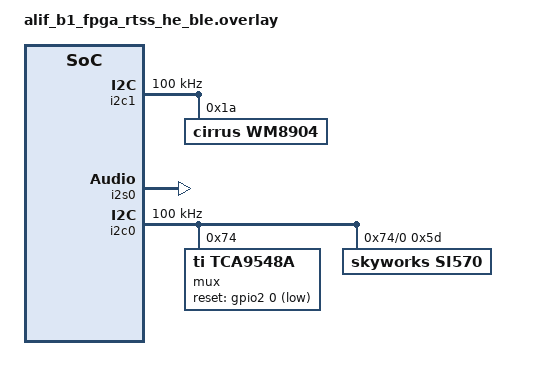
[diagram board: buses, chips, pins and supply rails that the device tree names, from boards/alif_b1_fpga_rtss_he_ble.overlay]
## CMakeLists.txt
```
# Copyright (C) 2023 Alif Semiconductor - All Rights Reserved.
# Use, distribution and modification of this code is permitted under the
# terms stated in the Alif Semiconductor Software License Agreement
#
# You should have received a copy of the Alif Semiconductor Software
# License Agreement with this file. If not, please write to:
# contact@alifsemi.com, or visit: https://alifsemi.com/license

cmake_minimum_required(VERSION 3.20.0)
find_package(Zephyr REQUIRED HINTS $ENV{ZEPHYR_BASE})
project(le_audio_broadcast_sink)

target_sources(app PRIVATE
    src/main.c
    src/broadcast_sink.c
    src/audio_datapath.c
)
```

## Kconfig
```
# Copyright (C) 2023 Alif Semiconductor - All Rights Reserved.
# Use, distribution and modification of this code is permitted under the
# terms stated in the Alif Semiconductor Software License Agreement
#
# You should have received a copy of the Alif Semiconductor Software
# License Agreement with this file. If not, please write to:
# contact@alifsemi.com, or visit: https://alifsemi.com/license

menu "Alif Bluetooth LE Audio Broadcast Sink"

config BROADCAST_NAME
	string "LE audio broadcast name"
	default "ALIF_LE_AUDIO"
	help
	  Broadcast name to connect to

config BROADCAST_PASSWORD
	string "LE audio broadcast password"
	help
	  If defined the broadcast stream will be encrypted.
	  Length needs to be between 4 and 16 chars or empty string (default) to disable.

choice
	prompt "Choose way to determine left/right audio channels"
	default AUDIO_LOCATION_USE_GAF

	config AUDIO_LOCATION_USE_GAF
		bool "Use GAF audio location sent by audio source"
	config AUDIO_LOCATION_IMPLICIT
		bool "Assume left channel is first stream, and right channel is second"

endchoice

menu "Logging"

module = MAIN
module-str = main
source "subsys/logging/Kconfig.template.log_config"

module = BROADCAST_SINK
module-str = broadcast_sink
source "subsys/logging/Kconfig.template.log_config"

endmenu # "Logging"

endmenu # "Alif Bluetooth LE Audio Broadcast Sink"

source "Kconfig.zephyr"
```

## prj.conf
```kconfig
# Copyright (C) 2023 Alif Semiconductor - All Rights Reserved.
# Use, distribution and modification of this code is permitted under the
# terms stated in the Alif Semiconductor Software License Agreement
#
# You should have received a copy of the Alif Semiconductor Software
# License Agreement with this file. If not, please write to:
# contact@alifsemi.com, or visit: https://alifsemi.com/license
CONFIG_BT=y
CONFIG_BT_CUSTOM=y
CONFIG_ALIF_ROM_LC3_CODEC=y
CONFIG_ALIF_BLE_AUDIO=y

CONFIG_LOG=y

CONFIG_PRESENTATION_COMPENSATION_DIRECTION_SINK=y
CONFIG_PRESENTATION_COMPENSATION_CORRECTION_FACTOR=2

CONFIG_AUDIO=y
CONFIG_AUDIO_CODEC=y
CONFIG_AUDIO_CODEC_SHELL=y
CONFIG_SHELL=y

# This is specific to whichever clock you use. Currently presentation layer is
# commented out so this does nothing
CONFIG_AUDIO_CLOCK_DIVIDER=1


# Should be replaced by TRNG when support is available
CONFIG_TEST_RANDOM_GENERATOR=y

# malloc support is required, simplest way is using newlib although it would also be possible to
# configure heap for picolibc
CONFIG_NEWLIB_LIBC=y

# Driver support for audio
CONFIG_I2S=y
CONFIG_I2S_SYNC_BUFFER_FORMAT_SEQUENTIAL=n
CONFIG_DMA=y

# Determine left and right channels by index, not GAF
CONFIG_AUDIO_LOCATION_IMPLICIT=y

# Audio codec is WM8904, connected via I2C.
CONFIG_I2C=y
CONFIG_WM8904=y
CONFIG_I2C_INIT_PRIORITY=50
CONFIG_WM8904_INIT_PRIORITY=99

# For MRAM(XIP) builds with LLVM exception tables cause linker errors as part of the code is placed to TCM
CONFIG_EXCEPTIONS=n

CONFIG_BROADCAST_PASSWORD="passwordpassword"
```

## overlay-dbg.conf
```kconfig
CONFIG_NO_OPTIMIZATIONS=y

# Debug
CONFIG_LOG=y
CONFIG_USE_SEGGER_RTT=y
CONFIG_RTT_CONSOLE=y

CONFIG_MAIN_LOG_LEVEL_DBG=y
CONFIG_BROADCAST_SINK_LOG_LEVEL_DBG=y
CONFIG_BLE_AUDIO_LOG_LEVEL_DBG=y
CONFIG_PRESENTATION_COMPENSATION_PRINT_STATS=y
CONFIG_LOG_BUFFER_SIZE=4096
CONFIG_LOG_DEFAULT_LEVEL=3

## Debugging configuration
CONFIG_THREAD_NAME=y
CONFIG_THREAD_ANALYZER=y
CONFIG_THREAD_ANALYZER_AUTO=y
CONFIG_THREAD_ANALYZER_RUN_UNLOCKED=y
CONFIG_THREAD_ANALYZER_USE_PRINTK=y
#CONFIG_THREAD_ANALYZER_AUTO_STACK_SIZE=6044

## Add asserts
CONFIG_ASSERT=y
#CONFIG_ASSERT_VERBOSE=y
#CONFIG_ASSERT_NO_COND_INFO=n
#CONFIG_ASSERT_NO_MSG_INFO=n

CONFIG_STACK_SENTINEL=y

#CONFIG_LOG_MODE_IMMEDIATE=y
CONFIG_LOG_MODE_MINIMAL=y
```

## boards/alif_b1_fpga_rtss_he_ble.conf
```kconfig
# Copyright (C) 2023 Alif Semiconductor - All Rights Reserved.
# Use, distribution and modification of this code is permitted under the
# terms stated in the Alif Semiconductor Software License Agreement
#
# You should have received a copy of the Alif Semiconductor Software
# License Agreement with this file. If not, please write to:
# contact@alifsemi.com, or visit: https://alifsemi.com/license

# Audio driver support specific to B1 FPGA board.
# Audio codec is WM8904, connected via I2C.
# Audio clock is provided by SI570, connected via I2C using TCA9548 I2C mux.
CONFIG_SI570=y
CONFIG_I2C_TCA954X_ROOT_INIT_PRIO=51
CONFIG_I2C_TCA954X_CHANNEL_INIT_PRIO=52

# SI570 clock output is passed through a fixed /8 divider to create MCLK signal
CONFIG_AUDIO_CLOCK_DIVIDER=8
```

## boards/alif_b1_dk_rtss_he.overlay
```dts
/* Copyright (C) 2023 Alif Semiconductor - All Rights Reserved.
 * Use, distribution and modification of this code is permitted under the
 * terms stated in the Alif Semiconductor Software License Agreement
 *
 * You should have received a copy of the Alif Semiconductor Software
 * License Agreement with this file. If not, please write to:
 * contact@alifsemi.com, or visit: https://alifsemi.com/license
 *
 */

#include <dt-bindings/pinctrl/balletto-pinctrl.h>
#include <dt-bindings/i2c/i2c.h>
#include <dt-bindings/gpio/gpio.h>

#define I2S0_IRQ_NUM  141
#define I2S0_IRQ_PRIO 3

#define I2S0_DMA_RX_CH  2
#define I2S0_DMA_RX_REQ 24
#define I2S0_DMA_TX_CH  3
#define I2S0_DMA_TX_REQ 28

#define AUDIO_DMA_ENABLED 1

/ {
	aliases {
		audio-codec = &wm8904;
		i2s-bus = &i2s0;
	};
};

&dma2 {
	status = "okay";
	dma-channels = <8>;
	interrupts = <0 3>, <1 3>, <2 3>, <3 3>, <4 3>, <5 3>,
		     <6 3>, <7 3>, <32 3>;
	interrupt-names = "channel0", "channel1",
			  "channel2", "channel3",
			  "channel4", "channel5",
			  "channel6", "channel7",
			  "abort";
};

&i2c1 {
	clock-frequency = <I2C_BITRATE_STANDARD>;
	status = "okay";

	wm8904: wm8904@1a {
		compatible = "cirrus,wm8904";
		reg = <0x1a>;
		status = "okay";
	};
};

&i2s0 {
	/delete-property/ clock-frequency;
	/delete-property/ driver_instance;
	compatible = "alif,i2s-sync";
	interrupts = <I2S0_IRQ_NUM I2S0_IRQ_PRIO>;
	bit-depth = <16>;
	sample-rate = <48000>;
	status = "okay";
#if AUDIO_DMA_ENABLED
	dmas = <&dma2 I2S0_DMA_RX_CH I2S0_DMA_RX_REQ>,
	       <&dma2 I2S0_DMA_TX_CH I2S0_DMA_TX_REQ>;
	dma-names = "rxdma", "txdma";
#endif
};

&pinctrl_i2c1 {
	group0 {
		pinmux = <PIN_P7_3__I2C1_SCL_C>,
			 <PIN_P7_2__I2C1_SDA_C>;
	};
};

&pinctrl_i2s0 {
	group0 {
		pinmux = <PIN_P2_4__I2S0_SDI_B>,
			 <PIN_P2_5__I2S0_SDO_B>,
			 <PIN_P1_7__I2S0_WS_A>,
			 <PIN_P1_6__I2S0_SCLK_A>;
	};
};

/* Disable unnecessary nodes */
&i2s1 {
	status = "disabled";
};

&i2s2 {
	status = "disabled";
};

&uart_ahi {
	status = "disabled";
};
```

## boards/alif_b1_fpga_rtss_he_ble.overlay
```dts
/* Copyright (C) 2023 Alif Semiconductor - All Rights Reserved.
 * Use, distribution and modification of this code is permitted under the
 * terms stated in the Alif Semiconductor Software License Agreement
 *
 * You should have received a copy of the Alif Semiconductor Software
 * License Agreement with this file. If not, please write to:
 * contact@alifsemi.com, or visit: https://alifsemi.com/license
 *
 */

#include <dt-bindings/pinctrl/balletto-pinctrl.h>
#include <dt-bindings/i2c/i2c.h>
#include <dt-bindings/gpio/gpio.h>

/ {
	aliases {
		audio-codec = &wm8904;
		i2s-bus = &i2s0;
		mclk-gen = &si570;
	};

	soc {
		i2c1: i2c1@49011000 {
			compatible = "snps,designware-i2c";
			clock-frequency = <I2C_BITRATE_STANDARD>;
			#address-cells = <1>;
			#size-cells = <0>;
			reg = <0x49011000 0x1000>;
			pinctrl-0 = < &pinctrl_i2c1 >;
			pinctrl-names = "default";
			interrupt-parent = <&nvic>;
			interrupts = <133 3>;
			status = "okay";

			wm8904: wm8904@1a {
				compatible = "cirrus,wm8904";
				reg = <0x1a>;
				status = "okay";
			};
		};

		i2s0: i2s0@49014000 {
			compatible = "alif,i2s-sync";
			reg = <0x49014000 0x1000>;
			pinctrl-names = "default";
			pinctrl-0 = <&pinctrl_i2s0>;
			interrupts = <141 3>;
			bit-depth = <16>;
			sample-rate = <48000>;
			status = "okay";
		};

		i2c0: i2c0@49010000 {
			compatible = "snps,designware-i2c";
			clock-frequency = <I2C_BITRATE_STANDARD>;
			#address-cells = <1>;
			#size-cells = <0>;
			reg = <0x49010000 0x1000>;
			pinctrl-0 = < &pinctrl_i2c0 >;
			pinctrl-names = "default";
			interrupt-parent = <&nvic>;
			interrupts = <132 3>;
			status = "okay";

			mux: tca9548a@74 {
				compatible = "ti,tca9548a";
				reg = <0x74>;
				status = "okay";
				#address-cells = <1>;
				#size-cells = <0>;
				reset-gpios = <&gpio2 0 GPIO_ACTIVE_LOW>;

				ch0: mux_i2c@0 {
					compatible = "ti,tca9548a-channel";
					reg = <0>;
					status = "okay";
					#address-cells = <1>;
					#size-cells = <0>;

					si570: si570@5d {
						compatible = "skyworks,si570";
						reg = <0x5d>;
						factory-fout = <156250000>;
						initial-freq = <12288000>;
					};
				};
			};
		};
	};
};

&pinctrl {
	pinctrl_i2c1: pinctrl_i2c1 {
		group0 {
			/* Note: defined pinmux names are wrong so just setting numbers directly */
			pinmux = < PINMUX_PIN(PIN_P2_6, 3) >, /* I2C1 SCL */
				< PINMUX_PIN(PIN_P2_7, 3) >; /* I2C1 SDA */
			read_enable = < 0x1 >;
		};
	};

	pinctrl_i2s0:pinctrl_i2s0 {
		group0 {
			/* Note: defined pinmux names are wrong so just setting numbers directly */
			pinmux = < PINMUX_PIN(PIN_P1_4, 2) >, /* I2S0 SDI A  */
				< PINMUX_PIN(PIN_P1_5, 2) >, /* I2S0 SDO A  */
				< PINMUX_PIN(PIN_P1_7, 3) >, /* I2S0 WS A   */
				< PINMUX_PIN(PIN_P1_6, 3) >; /* I2S0 SCLK A */
		};
	};

	pinctrl_i2c0: pinctrl_i2c0 {
		group0 {
			pinmux = < PIN_P2_4__I2C0_SCL_B >,
				< PIN_P2_5__I2C0_SDA_B >;
			read_enable = < 0x1 >;
		};
	};
};
```

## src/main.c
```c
/* Copyright (C) 2023 Alif Semiconductor - All Rights Reserved.
 * Use, distribution and modification of this code is permitted under the
 * terms stated in the Alif Semiconductor Software License Agreement
 *
 * You should have received a copy of the Alif Semiconductor Software
 * License Agreement with this file. If not, please write to:
 * contact@alifsemi.com, or visit: https://alifsemi.com/license
 */

#include <zephyr/kernel.h>
#include <zephyr/logging/log.h>
#include <zephyr/sys/__assert.h>
#include "alif_ble.h"
#include "gapm.h"
#include "gap_le.h"
#include "broadcast_sink.h"

LOG_MODULE_REGISTER(main, CONFIG_MAIN_LOG_LEVEL);

/**
 * Bluetooth stack configuration
 */
static const gapm_config_t gapm_cfg = {
	.role = GAP_ROLE_LE_OBSERVER,
	.pairing_mode = GAPM_PAIRING_DISABLE,
	.privacy_cfg = 0,
	.renew_dur = 1500,
	.private_identity.addr = {0, 0, 0, 0, 0, 0},
	.irk.key = {0, 0, 0, 0, 0, 0, 0, 0, 0, 0, 0, 0, 0, 0, 0, 0},
	.gap_start_hdl = 0,
	.gatt_start_hdl = 0,
	.att_cfg = 0,
	.sugg_max_tx_octets = GAP_LE_MIN_OCTETS,
	.sugg_max_tx_time = GAP_LE_MIN_TIME,
	.tx_pref_phy = GAP_PHY_ANY,
	.rx_pref_phy = GAP_PHY_ANY,
	.tx_path_comp = 0,
	.rx_path_comp = 0,
	.class_of_device = 0,  /* BT Classic only */
	.dflt_link_policy = 0, /* BT Classic only */
};

#if !CONFIG_ALIF_BLE_ROM_IMAGE_V1_0 /* ROM version > 1.0 */
static void on_gapm_err(uint32_t metainfo, uint8_t code)
{
	LOG_ERR("gapm error %d", code);
}

static const gapm_cb_t gapm_err_cbs = {
	.cb_hw_error = on_gapm_err,
};

/* For the observer role, callbacks are not mandatory */
static const gapm_callbacks_t gapm_cbs = {
	.p_con_req_cbs = NULL,
	.p_sec_cbs = NULL,
	.p_info_cbs = NULL,
	.p_le_config_cbs = NULL,
	.p_bt_config_cbs = NULL,
	.p_gapm_cbs = &gapm_err_cbs,
};
#else /* ROM version 1.0 */
static void on_gapm_err(enum co_error err)
{
	LOG_ERR("gapm error %d", err);
}

static const gapm_err_info_config_cb_t gapm_err_cbs = {
	.ctrl_hw_error = on_gapm_err,
};

/* For the observer role, callbacks are not mandatory */
static const gapm_callbacks_t gapm_cbs = {
	.p_con_req_cbs = NULL,
	.p_sec_cbs = NULL,
	.p_info_cbs = NULL,
	.p_le_config_cbs = NULL,
	.p_bt_config_cbs = NULL,
	.p_err_info_config_cbs = &gapm_err_cbs,
};
#endif

static void on_gapm_process_complete(uint32_t metainfo, uint16_t status)
{
	if (status) {
		LOG_ERR("gapm process completed with error %u", status);
		return;
	}

	LOG_INF("gapm process completed successfully");

	int ret = broadcast_sink_start();

	if (ret) {
		LOG_ERR("Failed to start broadcast sink, err %d", ret);
	}

	LOG_INF("Broadcast sink started");
}

int main(void)
{
	int ret = alif_ble_enable(NULL);

	if (ret) {
		LOG_ERR("Failed to enable bluetooth, err %d", ret);
		return ret;
	}

	LOG_INF("BLE enabled");

	uint16_t err = gapm_configure(0, &gapm_cfg, &gapm_cbs, on_gapm_process_complete);

	if (err != 0) {
		LOG_ERR("gapm_configure error %u", err);
		return -1;
	}

	return 0;
}
```

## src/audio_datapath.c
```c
/* Copyright (C) 2023 Alif Semiconductor - All Rights Reserved.
 * Use, distribution and modification of this code is permitted under the
 * terms stated in the Alif Semiconductor Software License Agreement
 *
 * You should have received a copy of the Alif Semiconductor Software
 * License Agreement with this file. If not, please write to:
 * contact@alifsemi.com, or visit: https://alifsemi.com/license
 */

#include <zephyr/logging/log.h>
#include <zephyr/drivers/i2s.h>
#include <zephyr/audio/codec.h>
#include "bluetooth/le_audio/audio_decoder.h"
#include "bluetooth/le_audio/presentation_compensation.h"
#include "audio_datapath.h"

LOG_MODULE_REGISTER(audio_datapath, CONFIG_BLE_AUDIO_LOG_LEVEL);

#define CODEC_NODE DT_ALIAS(audio_codec)

struct audio_datapath {
	struct audio_decoder *decoder;
	size_t octets_per_frame;
};

static struct audio_datapath env;

#if CONFIG_APP_PRINT_STATS
static void print_sdus(void *context, uint32_t timestamp, uint16_t sdu_seq)
{
	static uint16_t last_sdu;

	if (last_sdu && (last_sdu + 1 < sdu_seq)) {
		LOG_INF("SDU sequence number jumps, last: %u, now: %u", last_sdu, sdu_seq);
	}
	last_sdu = sdu_seq;

	if (0 == (sdu_seq % 128)) {
		LOG_INF("SDU sequence number %u", sdu_seq);
	}
}
#endif

#ifdef CONFIG_PRESENTATION_COMPENSATION_DEBUG
void on_timing_debug_info_ready(struct presentation_comp_debug_data *dbg_data)
{
	LOG_INF("Presentation compensation debug data is ready");
}
#endif

int audio_datapath_create_sink(struct audio_datapath_config const *const cfg)
{
	int ret;

	if (!cfg) {
		__ASSERT(false, "Datapath configuration missing");
		return -EINVAL;
	}

	if (env.decoder) {
		return -EALREADY;
	}

	env.octets_per_frame = cfg->octets_per_frame;

	/* Configure codec */
	struct audio_codec_cfg codec_cfg = {
		.dai_type = AUDIO_DAI_TYPE_I2S,
		.dai_cfg = {
			.i2s = {
				.word_size = AUDIO_PCM_WIDTH_16_BITS,
				.channels = 2,
				.format = I2S_FMT_DATA_FORMAT_I2S,
				.options = 0,
				.frame_clk_freq = cfg->sampling_rate_hz,
				.mem_slab = NULL,
				.block_size = 0,
				.timeout = 0,
			},
		},
	};

	ret = audio_codec_configure(DEVICE_DT_GET(CODEC_NODE), &codec_cfg);
	if (ret) {
		LOG_ERR("Failed to configure sink codec. err %d", ret);
		return ret;
	}
	audio_codec_start_output(DEVICE_DT_GET(CODEC_NODE));

	struct audio_decoder_params const dec_params = {
		.i2s_dev = cfg->i2s_dev,
		.frame_duration_us = cfg->frame_duration_is_10ms ? 10000 : 7500,
		.sampling_rate_hz = cfg->sampling_rate_hz,
		.pres_delay_us = cfg->pres_delay_us,
	};

	env.decoder = audio_decoder_create(&dec_params);
	if (env.decoder == NULL) {
		LOG_ERR("Failed to create audio decoder");
		return -ENOMEM;
	}

	/* TODO: Change MCLK to use alif clock control */

	/* ret = presentation_compensation_configure(cfg->mclk_dev, pres_delay_us);
	 * if (ret != 0) {
	 *	LOG_ERR("Failed to configure presentation compensation module, err %d", ret);
	 *	return ret;
	 * }
	 */

	/* Add presentation compensation callback to notify audio sink */
	/* ret = presentation_compensation_register_cb(audio_sink_i2s_apply_timing_correction);
	 * if (ret != 0) {
	 *	LOG_ERR("Failed to register presentation compensation callback, err %d", ret);
	 *	return ret;
	 * }
	 */

#ifdef CONFIG_PRESENTATION_COMPENSATION_DEBUG
	/* ret = presentation_compensation_register_debug_cb(on_timing_debug_info_ready);
	 * if (ret != 0) {
	 *	LOG_ERR("Failed to register presentation compensation debug callback, err %d", ret);
	 *	return ret;
	 * }
	 */
#endif

#if CONFIG_APP_PRINT_STATS
	ret = audio_decoder_register_cb(env.decoder, print_sdus, NULL);

	if (ret != 0) {
		LOG_ERR("Failed to register decoder cb, err %d", ret);
		return ret;
	}
#endif

	LOG_INF("Created audio datapath");

	return 0;
}

int audio_datapath_channel_create_sink(size_t const octets_per_frame, uint8_t const ch_index)
{
	int ret = audio_decoder_add_channel(env.decoder, octets_per_frame, ch_index);

	if (ret) {
		LOG_ERR("Failed to create channel %u, err %d", ch_index, ret);
		return ret;
	}

	return 0;
}

int audio_datapath_channel_start_sink(uint8_t const ch_index)
{
	int ret = audio_decoder_start_channel(env.decoder, ch_index);

	if (ret) {
		LOG_ERR("Failed to start channel %u, err %d", ch_index, ret);
		return ret;
	}

	return 0;
}

int audio_datapath_start(void)
{
	for (int iter = 0; iter < CONFIG_ALIF_BLE_AUDIO_NMB_CHANNELS; iter++) {
		audio_datapath_channel_create_sink(env.octets_per_frame, iter);
	}

	for (int iter = 0; iter < CONFIG_ALIF_BLE_AUDIO_NMB_CHANNELS; iter++) {
		audio_datapath_channel_start_sink(iter);
	}

	LOG_INF("Audio datapath started");

	return 0;
}

int audio_datapath_cleanup_sink(void)
{
	audio_decoder_delete(env.decoder);
	env.decoder = NULL;

	/* Stop codec output */
	audio_codec_stop_output(DEVICE_DT_GET(CODEC_NODE));

	LOG_INF("Removed audio datapath");

	return 0;
}
```

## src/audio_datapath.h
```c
/* Copyright (C) 2023 Alif Semiconductor - All Rights Reserved.
 * Use, distribution and modification of this code is permitted under the
 * terms stated in the Alif Semiconductor Software License Agreement
 *
 * You should have received a copy of the Alif Semiconductor Software
 * License Agreement with this file. If not, please write to:
 * contact@alifsemi.com, or visit: https://alifsemi.com/license
 */

#ifndef _AUDIO_DATAPATH_H
#define _AUDIO_DATAPATH_H

#include <zephyr/types.h>
#include <zephyr/device.h>

struct audio_datapath_config {
	const struct device *i2s_dev;
	/* const struct device *mclk_dev; */
	uint32_t pres_delay_us;
	uint32_t sampling_rate_hz;
	uint16_t octets_per_frame;
	bool frame_duration_is_10ms;
};

/**
 * @brief Create the audio datapath for sink
 *
 * Creates and configures all of the required elements to stream audio from Bluetooth LE to I2S.
 * This includes configuring and starting the codec.
 *
 * @param cfg Desired configuration of the audio datapath
 *
 * @retval 0 if successful
 * @retval Negative error code on failure
 */
int audio_datapath_create_sink(struct audio_datapath_config const *cfg);

/**
 * @brief Create a channel for the audio datapath
 *
 * Creates a channel for the audio decoder.
 *
 * @param octets_per_frame Number of octets per frame
 * @param ch_index Channel index
 *
 * @retval 0 if successful
 * @retval Negative error code on failure
 */
int audio_datapath_channel_create_sink(size_t const octets_per_frame, uint8_t const ch_index);

/**
 * @brief Start a channel for the audio datapath
 *
 * Starts a channel for the audio decoder.
 *
 * @param ch_index Channel index
 *
 * @retval 0 if successful
 * @retval Negative error code on failure
 */
int audio_datapath_channel_start_sink(uint8_t const ch_index);

/**
 * @brief Start the audio datapath
 *
 * Starts reception of the first SDU over the ISO datapath, which when received starts off the
 * operation of the rest of the datapath.
 *
 * @retval 0 if successful
 * @retval Negative error code on failure
 */
int audio_datapath_start(void);

/**
 * @brief Clean up the audio datapath
 *
 * Stops the audio datapath and cleans up all elements created by audio_datapath_create_sink,
 * freeing any allocated memory if necessary. After calling this function, it is possible to create
 * a new audio datapath again using audio_datapath_create_sink.
 *
 * @retval 0 if successful
 * @retval Negative error code on failure
 */
int audio_datapath_cleanup_sink(void);

#endif /* _AUDIO_DATAPATH_H */
```

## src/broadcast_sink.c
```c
/* Copyright (C) 2023 Alif Semiconductor - All Rights Reserved.
 * Use, distribution and modification of this code is permitted under the
 * terms stated in the Alif Semiconductor Software License Agreement
 *
 * You should have received a copy of the Alif Semiconductor Software
 * License Agreement with this file. If not, please write to:
 * contact@alifsemi.com, or visit: https://alifsemi.com/license
 */

#include <zephyr/types.h>
#include <zephyr/kernel.h>
#include <zephyr/logging/log.h>
#include <zephyr/init.h>
#include <zephyr/sys/__assert.h>
#include <string.h>

#include "bluetooth/le_audio/audio_utils.h"

#include "bap_bc_sink.h"
#include "bap_bc_scan.h"
#include "audio_datapath.h"
#include "broadcast_sink.h"

LOG_MODULE_REGISTER(broadcast_sink, CONFIG_BROADCAST_SINK_LOG_LEVEL);

#define SYNCHRONISATION_TIMEOUT_MS 2000
#define SYNCHRONISATION_TIMEOUT    (SYNCHRONISATION_TIMEOUT_MS / 10)
#define SCAN_TIMEOUT_MS            1000
#define SCAN_TIMEOUT               (SCAN_TIMEOUT_MS / 10)
#define SINK_TIMEOUT_MS            1000
#define SINK_TIMEOUT               (SINK_TIMEOUT_MS / 10)
#define INVALID_CHANNEL_INDEX      0xFF

#define GAF_LOC_LEFT_OR_CENTRE_MASK                                                                \
	(GAF_LOC_FRONT_LEFT_BIT | GAF_LOC_FRONT_LEFT_BIT | GAF_LOC_BACK_LEFT_BIT |                 \
	 GAF_LOC_FRONT_LEFT_CENTER_BIT | GAF_LOC_BACK_CENTER_BIT | GAF_LOC_SIDE_LEFT_BIT |         \
	 GAF_LOC_TOP_FRONT_LEFT_BIT | GAF_LOC_TOP_FRONT_CENTER_BIT | GAF_LOC_TOP_CENTER_BIT |      \
	 GAF_LOC_TOP_BACK_LEFT_BIT | GAF_LOC_TOP_SIDE_LEFT_BIT | GAF_LOC_TOP_BACK_CENTER_BIT |     \
	 GAF_LOC_BOTTOM_FRONT_CENTER_BIT | GAF_LOC_BOTTOM_FRONT_LEFT_BIT |                         \
	 GAF_LOC_FRONT_LEFT_WIDE_BIT | GAF_LOC_LEFT_SURROUND_BIT)
#define GAF_LOC_RIGHT_MASK                                                                         \
	(GAF_LOC_FRONT_RIGHT_BIT | GAF_LOC_BACK_RIGHT_BIT | GAF_LOC_FRONT_RIGHT_CENTER_BIT |       \
	 GAF_LOC_SIDE_RIGHT_BIT | GAF_LOC_TOP_FRONT_RIGHT_BIT | GAF_LOC_TOP_BACK_RIGHT_BIT |       \
	 GAF_LOC_TOP_SIDE_RIGHT_BIT | GAF_LOC_BOTTOM_FRONT_RIGHT_BIT |                             \
	 GAF_LOC_FRONT_RIGHT_WIDE_BIT)

/* Configuration obtained from advertising reports */
struct broadcast_sink_env {
	/* Details of PA, group etc. to enable */
	bap_bcast_id_t bcast_id;
	uint32_t chosen_streams_bf;
	uint32_t started_streams_bf;
	uint8_t left_channel_pos;
	uint8_t right_channel_pos;
	uint8_t pa_lid;
	uint8_t grp_lid;

	/* Audio datapath configuration */
	struct audio_datapath_config datapath_cfg;
	bool datapath_cfg_valid;
};

#define I2S_NODE   DT_ALIAS(i2s_bus)
#define CODEC_NODE DT_ALIAS(audio_codec)
/* #define MCLK_GEN_NODE DT_ALIAS(mclk_gen) */

static const char bc_password[] = CONFIG_BROADCAST_PASSWORD;
static bool bc_stream_is_encrypted;

BUILD_ASSERT(!DT_PROP(I2S_NODE, mono_mode), "I2S must be configured in stereo mode");

const struct device *i2s_dev = DEVICE_DT_GET(I2S_NODE);
const struct device *codec_dev = DEVICE_DT_GET(CODEC_NODE);
/* const struct device *mclk_gen_dev = DEVICE_DT_GET(MCLK_GEN_NODE); */

static uint8_t expected_streams;
static bool public_broadcast_found;
static struct broadcast_sink_env sink_env;

/* Initialisation to perform pre-main */
static int broadcast_sink_init(void)
{
	bool ready;

	/* Check all devices are ready */
	ready = device_is_ready(i2s_dev);
	if (!ready) {
		LOG_ERR("I2S is not ready");
		return -1;
	}

	ready = device_is_ready(codec_dev);
	if (!ready) {
		LOG_ERR("Audio codec is not ready");
		return -1;
	}

	/* __ASSERT(device_is_ready(mclk_gen_dev), "MCLK device is not ready"); */

	return 0;
}
SYS_INIT(broadcast_sink_init, APPLICATION, 0);

static void reset_sink_config(void)
{
	/* Assume config is OK to start, and set false if anything incompatible is found */
	memset(&sink_env, 0, sizeof(sink_env));
	sink_env.datapath_cfg_valid = true;
	sink_env.datapath_cfg.i2s_dev = i2s_dev;
	/* sink_env.datapath_cfg.mclk_dev = mclk_gen_dev; */
	sink_env.right_channel_pos = INVALID_CHANNEL_INDEX;
	sink_env.left_channel_pos = INVALID_CHANNEL_INDEX;
}

static int start_scanning(void)
{
	LOG_INF("Start scanning for broadcast sources");

	/* Zero timeout value causes it to scan until explicitly stopped */
	uint16_t err = bap_bc_scan_start(0);

	if (err != GAP_ERR_NO_ERROR) {
		LOG_ERR("Failed to start bap_bc_scan, err %u", err);
		return -ENODEV;
	}

	reset_sink_config();
	public_broadcast_found = false;

	return 0;
}

static int sink_enable(void)
{
	if (!sink_env.datapath_cfg_valid) {
		LOG_ERR("Cannot enable sink for invalid config");
		return -1;
	}

	if (sink_env.left_channel_pos != INVALID_CHANNEL_INDEX) {
		sink_env.chosen_streams_bf |= (1U << (sink_env.left_channel_pos - 1));
	}

	if (sink_env.right_channel_pos != INVALID_CHANNEL_INDEX) {
		sink_env.chosen_streams_bf |= (1U << (sink_env.right_channel_pos - 1));
	}

	LOG_INF("Chosen streams bitfield: %x", sink_env.chosen_streams_bf);

	const size_t bc_password_len = sizeof(bc_password) - 1;

	if (0 != bc_password_len && (bc_password_len < 4 ||  bc_password_len > GAP_KEY_LEN)) {
		LOG_ERR("Broadcast password is invalid, len must be either 0 or %u, actual %u",
			GAP_KEY_LEN, bc_password_len);
		return -1;
	}

	gaf_bcast_code_t code;
	const gaf_bcast_code_t *ptr = NULL;

	if (bc_password_len && bc_stream_is_encrypted) {
		memset(code.bcast_code, 0, GAP_KEY_LEN);
		memcpy(code.bcast_code, bc_password, bc_password_len);
		ptr = &code;
	}

	uint16_t err =
		bap_bc_sink_enable(sink_env.pa_lid, &sink_env.bcast_id, sink_env.chosen_streams_bf,
				   ptr, 0, SINK_TIMEOUT, &sink_env.grp_lid);

	if (err) {
		LOG_ERR("Failed to enable bap_bc_sink, err %u", err);
		return -1;
	}

	return 0;
}

static void terminate_pa_sync(void)
{
	uint16_t err = bap_bc_scan_pa_terminate(sink_env.pa_lid);

	if (err) {
		LOG_ERR("Failed to terminate sync with PA, err %u", err);
	}
}

static int start_streaming(void)
{
	gaf_codec_id_t codec_id = GAF_CODEC_ID_LC3;

	uint16_t err = bap_bc_sink_start_streaming(sink_env.grp_lid, sink_env.left_channel_pos,
						   &codec_id, GAPI_DP_ISOOSHM, 0, NULL);

	if (err) {
		LOG_ERR("Failed to start streaming with err %u", err);
		start_scanning();
		return -1;
	}

	if (sink_env.right_channel_pos != INVALID_CHANNEL_INDEX) {
		uint16_t err =
			bap_bc_sink_start_streaming(sink_env.grp_lid, sink_env.right_channel_pos,
						    &codec_id, GAPI_DP_ISOOSHM, 0, NULL);

		if (err) {
			LOG_ERR("Failed to start streaming with err %u", err);
			start_scanning();
			return -1;
		}
	}

	return 0;
}

static void on_bap_bc_scan_cmp_evt(uint8_t cmd_type, uint16_t status, uint8_t pa_lid)
{
	switch (cmd_type) {
	case BAP_BC_SCAN_CMD_TYPE_START:
		LOG_INF("Scan start cmd complete, status %u", status);
		break;
	case BAP_BC_SCAN_CMD_TYPE_STOP:
		LOG_INF("Scan stop cmd complete, status %u", status);
		break;
	case BAP_BC_SCAN_CMD_TYPE_PA_SYNCHRONIZE:
		LOG_INF("PA synchronise cmd complete, status %u", status);
		break;
	case BAP_BC_SCAN_CMD_TYPE_PA_TERMINATE:
		LOG_INF("PA terminate cmd complete, status %u", status);
		break;
	default:
		LOG_INF("Unexpected cmd_type %u", cmd_type);
		break;
	}
}

static void on_bap_bc_scan_timeout(void)
{
	LOG_INF("scan timeout");
}

static void on_bap_bc_scan_report(const bap_adv_id_t *p_adv_id, const bap_bcast_id_t *p_bcast_id,
				  uint8_t info_bf, const gaf_adv_report_air_info_t *p_air_info,
				  uint16_t length, const uint8_t *p_data)
{
	LOG_INF("Got scan report");
	LOG_INF("Public Broadcast Profile %s supported",
		(info_bf & BAP_BC_SCAN_PUBLIC_BROADCAST_SUPPORT_BIT) ? "is" : "is not");
	LOG_INF("Broadcast ID: %02x %02x %02x", p_bcast_id->id[0], p_bcast_id->id[1],
		p_bcast_id->id[2]);
	LOG_INF("Air info: tx_pwr %u, rssi %u", p_air_info->tx_pwr, p_air_info->rssi);
	LOG_HEXDUMP_DBG(p_data, length, "adv data: ");

	/* Store broadcast ID for later */
	memcpy(&sink_env.bcast_id, p_bcast_id, sizeof(bap_bcast_id_t));
}

static void on_bap_bc_scan_public_bcast(const bap_adv_id_t *p_adv_id,
					const bap_bcast_id_t *p_bcast_id, uint8_t pbp_features_bf,
					uint8_t broadcast_name_len, const uint8_t *p_broadcast_name,
					uint8_t metadata_len, const uint8_t *p_metadata)
{
	bool correct_stream = false;

	bc_stream_is_encrypted = (pbp_features_bf & BAP_BC_PBP_FEATURES_ENCRYPTED_BIT);

	LOG_INF("Got public broadcast report");
	LOG_INF("PBP features: encrypted: %s, standard quality: %s, high quality: %s",
		(pbp_features_bf & BAP_BC_PBP_FEATURES_ENCRYPTED_BIT) ? "yes" : "no",
		(pbp_features_bf & BAP_BC_PBP_FEATURES_STANDARD_QUALITY_PRESENT_BIT) ? "yes" : "no",
		(pbp_features_bf & BAP_BC_PBP_FEATURES_HIGH_QUALITY_PRESENT_BIT) ? "yes" : "no");
	if (broadcast_name_len < 20) {
		char broadcast_name[20];

		memcpy(broadcast_name, p_broadcast_name, broadcast_name_len);
		broadcast_name[broadcast_name_len] = '\0';
		LOG_INF("Broadcast name %s", broadcast_name);

		correct_stream =
			(0 == memcmp(CONFIG_BROADCAST_NAME, broadcast_name, broadcast_name_len));
	}
	LOG_HEXDUMP_DBG(p_metadata, metadata_len, "metadata: ");

	/* check that encrypted stream could be connected... */
	if (bc_stream_is_encrypted && 0 == (sizeof(bc_password) - 1)) {
		LOG_WRN("Cannot connect to encrypted broadcast without password");
		return;
	}

	/* If we found a non-encrypted public broadcast, synchronise to this */
	if (correct_stream && !public_broadcast_found) {
		LOG_INF("Synchronising to public broadcast");
		public_broadcast_found = true;

		uint16_t err = bap_bc_scan_pa_synchronize(p_adv_id, 0, BAP_BC_SCAN_REPORT_MASK,
							  SYNCHRONISATION_TIMEOUT, SCAN_TIMEOUT,
							  &sink_env.pa_lid);

		if (err != GAP_ERR_NO_ERROR) {
			LOG_ERR("Failed to start PA synchronise procedure, err %u", err);
		}
	}
}

static void on_bap_bc_scan_pa_established(uint8_t pa_lid, const bap_adv_id_t *p_adv_id, uint8_t phy,
					  uint16_t interval_frames)
{
	LOG_INF("PA synchronised, pa_lid %u interval %u ms", pa_lid, (interval_frames * 5) / 4);

	uint16_t err = bap_bc_scan_stop();

	if (err) {
		LOG_INF("Failed to stop scanning, err %u", err);
	}
}

static void on_bap_bc_scan_pa_terminated(uint8_t pa_lid, uint8_t reason)
{
	LOG_INF("PA desynchronised, reason %u", reason);
}

static void on_bap_bc_scan_pa_report(uint8_t pa_lid, const gaf_adv_report_air_info_t *p_air_info,
				     uint16_t length, const uint8_t *p_data)
{
	LOG_INF("PA report");
	LOG_INF("Air info: tx_pwr %u rssi %u", p_air_info->tx_pwr, p_air_info->rssi);
	LOG_HEXDUMP_DBG(p_data, length, "periodic adv data: ");
}

static void on_bap_bc_scan_big_info_report(uint8_t pa_lid, const gapm_le_big_info_t *p_report)
{
	LOG_INF("BIGinfo report");
	LOG_INF("SDU interval %u us, ISO interval %u ms, max_pdu %u max_sdu %u",
		p_report->sdu_interval, p_report->iso_interval, p_report->max_pdu,
		p_report->max_sdu);
	LOG_INF("num_bis %u, NSE %u, BN %u, PTO %u, IRC %u, PHY %u, framing %u, encrypted %u",
		p_report->num_bis, p_report->nse, p_report->bn, p_report->pto, p_report->irc,
		p_report->phy, p_report->framing, p_report->encrypted);
}

static void on_bap_bc_scan_group_report(uint8_t pa_lid, uint8_t nb_subgroups, uint8_t nb_streams,
					uint32_t pres_delay_us)
{
	LOG_INF("Group report: %u subgroups, %u streams, presentation delay %u us", nb_subgroups,
		nb_streams, pres_delay_us);
	expected_streams = nb_streams;

	/* Store presentation delay for later use */
	sink_env.datapath_cfg.pres_delay_us = pres_delay_us;
}

static void on_bap_bc_scan_subgroup_report(uint8_t pa_lid, uint8_t sgrp_id, uint32_t stream_pos_bf,
					   const gaf_codec_id_t *p_codec_id,
					   const bap_cfg_ptr_t *p_cfg,
					   const bap_cfg_metadata_ptr_t *p_metadata)
{
	LOG_INF("Subgroup report");
	LOG_INF("sgrp_id %u, stream_bf %x, codec_id %02x %02x %02x %02x %02x", sgrp_id,
		stream_pos_bf, p_codec_id->codec_id[0], p_codec_id->codec_id[1],
		p_codec_id->codec_id[2], p_codec_id->codec_id[3], p_codec_id->codec_id[4]);
	LOG_INF("BAP cfg: loc_bf %x frame_octet %u sampling_freq %u frame_dur %u "
		"frames_sdu %u",
		p_cfg->param.location_bf, p_cfg->param.frame_octet, p_cfg->param.sampling_freq,
		p_cfg->param.frame_dur, p_cfg->param.frames_sdu);

	/* Validate config is OK and store relevant info for later use */
	if (p_cfg->param.sampling_freq < BAP_SAMPLING_FREQ_MIN ||
	    p_cfg->param.sampling_freq > BAP_SAMPLING_FREQ_MAX) {
		LOG_WRN("Invalid sampling frequency %d(bap_sampling_freq)",
			p_cfg->param.sampling_freq);

		sink_env.datapath_cfg_valid = false;
	}

	if (p_cfg->param.frame_dur != BAP_FRAME_DUR_10MS) {
		LOG_WRN("Frame duration is not compatible, need 10 ms");
		sink_env.datapath_cfg_valid = false;
	}

	sink_env.datapath_cfg.octets_per_frame = p_cfg->param.frame_octet;
	sink_env.datapath_cfg.frame_duration_is_10ms = p_cfg->param.frame_dur == BAP_FRAME_DUR_10MS;
	sink_env.datapath_cfg.sampling_rate_hz =
		audio_bap_sampling_freq_to_hz(p_cfg->param.sampling_freq);
}

static void assign_audio_channel(uint8_t stream_count, uint8_t stream_pos, uint16_t loc_bf)
{
#ifdef CONFIG_AUDIO_LOCATION_USE_GAF
	if ((loc_bf & GAF_LOC_LEFT_OR_CENTRE_MASK) &&
	    (sink_env.left_channel_pos == INVALID_CHANNEL_INDEX)) {
#else /* CONFIG_AUDIO_LOCATION_IMPLICIT */
	if (stream_count == 0) {
#endif
		LOG_INF("Stream index %u is left or centre channel", stream_pos);
		sink_env.left_channel_pos = stream_pos;
	}

#ifdef CONFIG_AUDIO_LOCATION_USE_GAF
	if ((loc_bf & GAF_LOC_RIGHT_MASK) &&
	    (sink_env.right_channel_pos == INVALID_CHANNEL_INDEX)) {
#else /* CONFIG_AUDIO_LOCATION_IMPLICIT */
	if (stream_count == 1) {
#endif
		LOG_INF("Stream index %u is right channel", stream_pos);
		sink_env.right_channel_pos = stream_pos;
	}
}

static void on_bap_bc_scan_stream_report(uint8_t pa_lid, uint8_t sgrp_id, uint8_t stream_pos,
					 const gaf_codec_id_t *p_codec_id,
					 const bap_cfg_ptr_t *p_cfg)
{
	static uint8_t stream_report_count;

	LOG_INF("Stream report %u", stream_pos);
	LOG_INF("BAP cfg: loc_bf %x frame_octet %u sampling_freq %u frame_dur %u frames_sdu %u",
		p_cfg->param.location_bf, p_cfg->param.frame_octet, p_cfg->param.sampling_freq,
		p_cfg->param.frame_dur, p_cfg->param.frames_sdu);

	assign_audio_channel(stream_report_count, stream_pos, p_cfg->param.location_bf);

	if (++stream_report_count >= expected_streams) {
		expected_streams = 0;
		stream_report_count = 0;

		LOG_INF("Disabling PA reports");
		uint16_t err = bap_bc_scan_pa_report_ctrl(sink_env.pa_lid, 0);

		if (err) {
			LOG_ERR("Failed to disable PA reports");
		}

		if (sink_env.left_channel_pos == INVALID_CHANNEL_INDEX) {
			LOG_INF("A left or centre channel must be present");
			sink_env.datapath_cfg_valid = false;
		}

		if (sink_env.datapath_cfg_valid) {
			LOG_INF("Compatible audio source found");

			/* Enable BC sink for the compatible source */
			sink_enable();
		} else {
			LOG_INF("Audio source is not compatible");

			/* Restart scanning for another source */
			start_scanning();
		}
	}
}

static void on_bap_bc_sink_cmp_evt(uint8_t cmd_type, uint16_t status, uint8_t grp_lid,
				   uint8_t stream_pos)
{
	switch (cmd_type) {
	case BAP_BC_SINK_CMD_TYPE_ENABLE:
		LOG_INF("enable cmd complete, status %u, grp %u, stream %u", status, grp_lid,
			stream_pos);
		break;
	case BAP_BC_SINK_CMD_TYPE_START_STREAMING:
		LOG_INF("start streaming cmd complete, status %u, grp %u, stream %u", status,
			grp_lid, stream_pos);
		sink_env.started_streams_bf |= (1U << (stream_pos - 1));

		/* Start audio datapath when all chosen streams are started */
		if (sink_env.started_streams_bf == sink_env.chosen_streams_bf) {
			int ret = audio_datapath_create_sink(&sink_env.datapath_cfg);

			if (ret) {
				audio_datapath_cleanup_sink();
				LOG_ERR("Failed to create audio datapath");
				start_scanning();
			}

			audio_datapath_start();
		}
		break;
	default:
		LOG_ERR("Unexpected cmd type %u", cmd_type);
		break;
	}
}

static void on_bap_bc_sink_quality_cmp_evt(uint16_t status, uint8_t grp_lid, uint8_t stream_pos,
					   uint32_t crc_error_packets, uint32_t rx_unrx_packets,
					   uint32_t duplicate_packets)
{
	LOG_INF("cb_sink_quality, status %u group %u stream %u crc_err %u missing %u duplicate %u",
		status, grp_lid, stream_pos, crc_error_packets, rx_unrx_packets, duplicate_packets);
}

static void on_bap_bc_sink_status(uint8_t grp_lid, uint8_t state, uint32_t stream_pos_bf,
				  const gapi_bg_sync_config_t *p_bg_cfg, uint8_t nb_bis,
				  const uint16_t *p_conhdl)
{
	switch (state) {
	case BAP_BC_SINK_ESTABLISHED:
		LOG_INF("sync established with group %u", grp_lid);
		terminate_pa_sync();
		start_streaming();
		break;
	case BAP_BC_SINK_FAILED:
	case BAP_BC_SINK_CANCELLED:
	case BAP_BC_SINK_LOST:
	case BAP_BC_SINK_PEER_TERMINATE:
	case BAP_BC_SINK_UPPER_TERMINATE:
	case BAP_BC_SINK_MIC_FAILURE:
		LOG_INF("no sync with group %u, state %u", grp_lid, state);
		audio_datapath_cleanup_sink();
		start_scanning();
		break;
	default:
		LOG_ERR("Unexpected bc_sink state %u", state);
		break;
	}
}

static const bap_bc_scan_cb_t scan_cbs = {
	.cb_cmp_evt = on_bap_bc_scan_cmp_evt,
	.cb_timeout = on_bap_bc_scan_timeout,
	.cb_report = on_bap_bc_scan_report,
	.cb_public_bcast_source = on_bap_bc_scan_public_bcast,
	.cb_pa_established = on_bap_bc_scan_pa_established,
	.cb_pa_terminated = on_bap_bc_scan_pa_terminated,
	.cb_pa_report = on_bap_bc_scan_pa_report,
	.cb_big_info_report = on_bap_bc_scan_big_info_report,
	.cb_group_report = on_bap_bc_scan_group_report,
	.cb_subgroup_report = on_bap_bc_scan_subgroup_report,
	.cb_stream_report = on_bap_bc_scan_stream_report,
};

static const bap_bc_sink_cb_t sink_cbs = {
	.cb_cmp_evt = on_bap_bc_sink_cmp_evt,
	.cb_quality_cmp_evt = on_bap_bc_sink_quality_cmp_evt,
	.cb_status = on_bap_bc_sink_status,
};

int broadcast_sink_start(void)
{
	uint16_t err;

	err = bap_bc_scan_configure(BAP_ROLE_SUPP_BC_SINK_BIT | BAP_ROLE_SUPP_BC_SCAN_BIT,
				    &scan_cbs);
	if (err != GAP_ERR_NO_ERROR) {
		LOG_ERR("Failed to configure bap_bc_scan, err %u", err);
		return -ENODEV;
	}

	err = bap_bc_sink_configure(BAP_ROLE_SUPP_BC_SINK_BIT | BAP_ROLE_SUPP_BC_SCAN_BIT,
				    &sink_cbs);
	if (err != GAP_ERR_NO_ERROR) {
		LOG_ERR("Failed to configure bap_bc_sink, err %u", err);
		return -ENODEV;
	}

	return start_scanning();
}
```

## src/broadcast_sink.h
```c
/**
 * Copyright (C) 2023 Alif Semiconductor - All Rights Reserved.
 * Use, distribution and modification of this code is permitted under the
 * terms stated in the Alif Semiconductor Software License Agreement
 *
 * You should have received a copy of the Alif Semiconductor Software
 * License Agreement with this file. If not, please write to:
 * contact@alifsemi.com, or visit: https://alifsemi.com/license
 */

#ifndef _BROADCAST_SINK_H
#define _BROADCAST_SINK_H

/**
 * @brief Start the LE audio broadcast sink
 *
 * @retval 0 on success
 * @retval Negative error code on failure
 */
int broadcast_sink_start(void);

#endif /* _BROADCAST_SINK_H */
```
